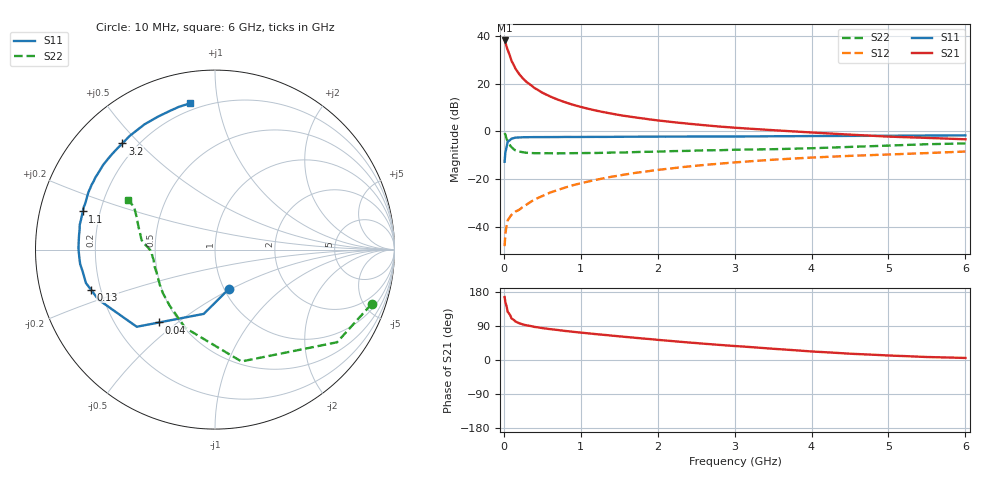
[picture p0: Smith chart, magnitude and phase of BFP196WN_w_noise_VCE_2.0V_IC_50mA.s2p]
! Infineon Technologies  Discrete & RF Semiconductors
! BFP196WN
! VCE =  2.0 V,  IC =  50 mA
! Common Emitter S-Parameters:  Jan 2017
# GHz  S  MA  R  50
!  f  S11  S21  S12  S22
! GHz  MAG  ANG  MAG  ANG  MAG  ANG  MAG  ANG
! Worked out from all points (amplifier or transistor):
!   77 points, 10 MHz to 6 GHz, reference 50 ohm
!   highest |S21| = 38.2 dB at 10 MHz (marker M1)
!   |S21| within 3 dB of that: start of sweep to 39.66 MHz
!   unconditionally stable (mu >= 1): 593.7 MHz to 2.881 GHz
!   at 130 MHz: K = 0.58, MSG = 31.0 dB, |S12| = -34.2 dB
!   at 2.2 GHz: K = 1.02, MAG = 8.8 dB, |S12| = -15.4 dB
!   at 6 GHz: K = 0.93, MSG = 2.6 dB, |S12| = -8.4 dB
!   lowest NFmin = 1.27 dB at 450 MHz
!   S11 on the Smith chart (normalised r, x): 10 MHz: 1.06, -0.49; 40 MHz: 0.39, -0.43; 130 MHz: 0.16, -0.15; 1.1 GHz: 0.13, +0.14; 3.2 GHz: 0.14, +0.45; 6 GHz: 0.16, +0.83
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0.01  0.2312 -69.9  81.31 166.2  0.0039 77.0  0.9235 -19.2
0.02  0.3635 -99.9  73.44 152.5  0.0071 68.4  0.8538 -37.2
0.04  0.5117 -127.5  57.32 137.5  0.0113 53.1  0.6714 -61.1
0.05  0.6123 -135.4  51.39 126.9  0.0135 49.1  0.6404 -76.7
0.1  0.7064 -156.7  30.12 109.5  0.0178 47.6  0.4668 -110.7
0.13  0.7262 -162.1  24.59 105.5  0.0195 49.1  0.422 -121.1
0.15  0.7428 -165.5  21.01 101.7  0.0207 49.9  0.4012 -129.1
0.2  0.7475 -170.7  15.95 97.1  0.0227 53.2  0.3784 -140.1
0.25  0.7555 -173.8  12.86 93.7  0.0263 56.4  0.3654 -147.1
0.3  0.7572 -176.6  10.77 91.3  0.0294 58.5  0.3558 -152.7
0.4  0.7608 179.5  8.127 87.3  0.0372 62.3  0.3496 -159.3
0.5  0.7606 176.5  6.512 84.2  0.044 65.0  0.3495 -164.0
0.7  0.7622 171.8  4.66 79.2  0.0589 67.6  0.3465 -169.8
0.9  0.7649 167.5  3.624 74.4  0.0744 68.3  0.3499 -173.1
1.1  0.7669 163.9  2.982 70.3  0.0891 68.0  0.3525 -175.8
1.5  0.7718 157.2  2.212 62.5  0.119 66.2  0.361 -179.6
2.1  0.7779 147.5  1.636 51.5  0.1623 62.1  0.382 177.0
3.1  0.784 132.6  1.169 35.6  0.2297 53.5  0.415 171.7
3.2  0.7852 131.1  1.141 34.2  0.2359 52.6  0.417 171.0
4.1  0.8011 118.2  0.931 21.4  0.2875 44.7  0.4493 162.3
5.1  0.8136 107.4  0.769 11.1  0.3326 37.0  0.5113 152.4
6  0.8267 99.7  0.684 5.4  0.3787 31.0  0.5594 150.2
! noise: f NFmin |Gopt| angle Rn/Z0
0.45  1.27  0.53  -177  0.05
0.9  1.39  0.56  -171  0.05
1.9  2.33  0.69  -148  0.16
2.4  3.05  0.7  -140  0.28
